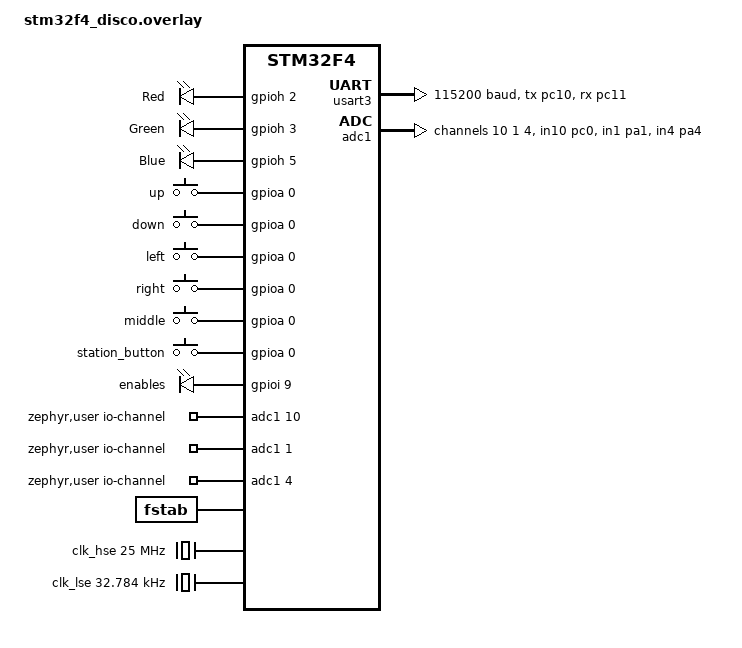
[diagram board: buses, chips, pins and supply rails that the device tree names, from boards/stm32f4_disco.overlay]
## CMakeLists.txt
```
cmake_minimum_required(VERSION 3.10)


##https://stackoverflow.com/questions/39807664/how-to-best-tell-cmake-where-to-find-dll
##https://discourse.cmake.org/t/copying-config-specific-paths-at-build-time/4776

if (CMAKE_CXX_COMPILER_ID STREQUAL "MSVC")
	set (VCPKG_BASE  "C:/Users/gadely2/vcpkg" )
	set (VCPKG_DIR     "${VCPKG_BASE}/installed/x64-windows/")
	set (CMAKE_TOOLCHAIN_FILE "${VCPKG_BASE}/scripts/buildsystems/vcpkg.cmake"   )
	set (VCPKG_TARGET_TRIPLET  "x64-windows"    )
	set (CMAKE_MODULE_PATH "${VCPKG_DIR}/include")
	#set (Qt5_DIR ${VCPKG_DIR}/share/cmake/Qt5)
	include_directories (
		#C:/Users/gadely2/vcpkg/installed/x64-windows/include/Qt5/QtWidgets
		#C:/Users/gadely2/vcpkg/installed/x64-windows/include/Qt5/QtCore
		#C:/Users/gadely2/vcpkg/installed/x64-windows/include/Qt5/QtGui
		#C:/Users/gadely2/vcpkg/installed/x64-windows/include/Qt5/
		#C:/Users/gadely2/vcpkg/installed/x64-windows/include/
		#C:/Users/gadely2/vcpkg/installed/x64-windows/include/readline
		${VCPKG_DIR}/include/Qt5/
		${VCPKG_DIR}/include/Qt5/QtWidgets
		${VCPKG_DIR}/include/Qt5/QtCore
		${VCPKG_DIR}/include/Qt5/QtGui
		#${VCPKG_DIR}/include/readline

	)

endif()



set (USE_GUI_CONSOLE OFF)
set(CMAKE_CXX_COMPILER_WORKS 1)
set(CMAKE_C_COMPILER_WORKS 1)

set (CMAKE_VERBOSE_MAKEFILE OFF)

project(lvgl)


set(CMAKE_C_STANDARD 11)
set(CMAKE_CXX_STANDARD 20)




#set( CMAKE_MESSAGE_LOG_LEVEL "DEBUG" )

set (PROJ_TOP ${CMAKE_SOURCE_DIR})

include (${CMAKE_SOURCE_DIR}/cmake/functions.cmake)
set(PRE_CONFIGURE_FILE "${CMAKE_SOURCE_DIR}/cmake/git.h.in")
set(POST_CONFIGURE_FILE "${CMAKE_BINARY_DIR}/git.h")
include (${CMAKE_SOURCE_DIR}/cmake/git_watcher.cmake)
set (CMAKE_CXX_STANDARD 17)


#https://stackoverflow.com/questions/10046114/in-cmake-how-can-i-test-if-the-compiler-is-clang
if (CMAKE_CXX_COMPILER_ID STREQUAL "GNU")
	add_definitions(-DSLEEP=sleep)
	set (CMAKE_C_FLAGS  " -g -O0 ${CMAKE_C_FLAGS_DEBUG_INIT}  ${CMAKE_C_FLAGS_DEBUG}    " )
	set (CMAKE_CXX_FLAGS_DEBUG "-O0 -g -std=c++17 -fpermissive")

	set (LUAC_PATH 	
		${CMAKE_BINARY_DIR}/common/luaEffects/luac/luac
	)


elseif (CMAKE_CXX_COMPILER_ID STREQUAL "MSVC")
	add_definitions(-DSLEEP=Sleep) 
	add_definitions("-D_CRT_SECURE_NO_WARNINGS -DWIN32")
	set(CMAKE_CXX_FLAGS  "${CMAKE_CXX_FLAGS} /W4")  
	set(CMAKE_CXX_FLAGS_DEBUG_INIT " /Zi ")
	set (CMAKE_CXX_FLAGS  " ${CMAKE_CXX_FLAGS_DEBUG_INIT}  ${CMAKE_CXX_FLAGS_DEBUG}  /MDd" )

	set(CMAKE_C_FLAGS_DEBUG_INIT "  /Zi")
	set (CMAKE_C_FLAGS  " ${CMAKE_C_FLAGS_DEBUG_INIT}  ${CMAKE_C_FLAGS_DEBUG}   /MDd " )

	link_directories(
		${VCPKG_DIR}/debug/lib/
	)
	include_directories(
		${VCPKG_DIR}/include
	)
	add_definitions (
		-DNO_SYSLOG
	)

	set (LUAC_PATH 	
		${CMAKE_BINARY_DIR}/common/luaEffects/luac/Debug/luac.exe
	)

endif()



if (CMAKE_CXX_COMPILER_ID STREQUAL "GNU" )
	set (TARGET "LINUX_PC")	
	set (Python3_EXECUTABLE python)	
	set (msvc_readline "-D LUA_USE_READLINE")	
elseif (CMAKE_CXX_COMPILER_ID STREQUAL "MSVC")
	set (UART_FILE uart_win.cpp)
	set (TARGET "WINDOWS")	
	set (Python3_EXECUTABLE "python.exe")
	set (msvc_readline "-D LUA_USE_READLINE")	
	set (Python3_EXECUTABLE "C:\\Program Files (x86)\\Microsoft Visual Studio\\Shared\\Python39_64\\python.exe")
endif()

set (ZEPHYR FALSE)

add_subdirectory(common)
add_subdirectory(game-pc)

set_property(DIRECTORY common PROPERTY VCPKG_DIR ${VCPKG_DIR})
set_property(DIRECTORY game-pc PROPERTY VCPKG_DIR ${VCPKG_DIR})
```

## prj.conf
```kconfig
# nothing here
CONFIG_SHELL=y
CONFIG_ADC=y

#CONFIG_SHELL_GETOPT=y
#CONFIG_GPIO_EMUL=y
#CONFIG_UART_NATIVE_POSIX=y
#CONFIG_EXTERNAL_LIBC=y
#CONFIG_MINIMAL_LIBC=y

CONFIG_DEBUG_THREAD_INFO=y
CONFIG_NO_OPTIMIZATIONS=y

CONFIG_POSIX_API=y
CONFIG_POSIX_CLOCK=y
CONFIG_NEWLIB_LIBC=y
CONFIG_FILE_SYSTEM=y
CONFIG_MAIN_STACK_SIZE=16384
CONFIG_SHELL_STACK_SIZE=16384

CONFIG_TEST_RANDOM_GENERATOR=y
CONFIG_NEWLIB_LIBC=y
#CONFIG_DEBUG_OPTIMIZATIONS=y
#CONFIG_SHELL_START_OBSCURED=y


CONFIG_LOG=y
CONFIG_EXTRA_EXCEPTION_INFO=y
CONFIG_SIMPLIFIED_EXCEPTION_CODES=y


CONFIG_BOOT_BANNER=n


CONFIG_FLASH=y
CONFIG_FLASH_MAP=y
CONFIG_FLASH_PAGE_LAYOUT=y


CONFIG_FILE_SYSTEM=y
CONFIG_FILE_SYSTEM_SHELL=y

CONFIG_FILE_SYSTEM_LITTLEFS=y

CONFIG_HEAP_MEM_POOL_SIZE=16384 

CONFIG_UART_INTERRUPT_DRIVEN=y


CONFIG_LIB_CPLUSPLUS=y
CONFIG_CPLUSPLUS=y
```

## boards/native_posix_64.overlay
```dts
/ {
	
zephyr,user {
		/* adjust channel number according to pinmux in board.dts */
		io-channels = <&adc0 10>, <&adc0 1>, <&adc0 4>;
	};


	
	gpio1: gpio@800 {
		status = "okay";
		compatible = "zephyr,gpio-emul";
		reg = <0x900 0x50>;
		rising-edge;
		falling-edge;
		high-level;
		low-level;
		gpio-controller;
		#gpio-cells = <2>;
	};

	#include <zephyr/dt-bindings/gpio/gpio.h>
	leds {
		compatible = "gpio-leds";
		station_led_r: red {
			gpios = <&gpio0 13 GPIO_ACTIVE_HIGH>;
			label = "Red";
		};
		station_led_g: green {
			gpios = <&gpio0 14 GPIO_ACTIVE_HIGH>;
			label = "Green";
		};
		station_led_b: blue {
			gpios = <&gpio0 14 GPIO_ACTIVE_HIGH>;
			label = "Blue";
		};
	};	
	gpio_keys {
		compatible = "gpio-keys";
		user_button_up: up {
			label = "up";
			gpios = <&gpio0 0 GPIO_ACTIVE_HIGH>;
		};
		user_button_down: down {
			label = "down";
			gpios = <&gpio0 0 GPIO_ACTIVE_HIGH>;
		};
		user_button_left: left {
			label = "left";
			gpios = <&gpio0 0 GPIO_ACTIVE_HIGH>;
		};
		user_button_right: right {
			label = "right";
			gpios = <&gpio0 0 GPIO_ACTIVE_HIGH>;
		};
		user_button_middle: middle {
			label = "middle";
			gpios = <&gpio0 0 GPIO_ACTIVE_HIGH>;
		};

		station_button: stb {
			label = "station_button";
			gpios = <&gpio0 0 GPIO_ACTIVE_HIGH>;
		};
	
	};

	enable_nodes {
             compatible = "gpio-leds";
          	enables: en {
                     gpios = <&gpio1 0 (GPIO_PULL_UP | GPIO_ACTIVE_LOW)>,
		    	 <&gpio1 1 (GPIO_PULL_UP | GPIO_ACTIVE_LOW)>  ;
              };
     	};



};


	
&adc0 {
	status = "okay";
	#address-cells = <1>;
	#size-cells = <0>;


	channel@10 {
		reg = <10>;
		zephyr,gain = "ADC_GAIN_1";
		zephyr,reference = "ADC_REF_INTERNAL";
		zephyr,acquisition-time = <ADC_ACQ_TIME_DEFAULT>;
		zephyr,resolution = <12>;
	};

	channel@1 {
		reg = <1>;
		zephyr,gain = "ADC_GAIN_1";
		zephyr,reference = "ADC_REF_INTERNAL";
		zephyr,acquisition-time = <ADC_ACQ_TIME_DEFAULT>;
		zephyr,resolution = <12>;
	};

	channel@4 {
		reg = <4>;
		zephyr,gain = "ADC_GAIN_1";
		zephyr,reference = "ADC_REF_INTERNAL";
		zephyr,acquisition-time = <ADC_ACQ_TIME_DEFAULT>;
		zephyr,resolution = <12>;
	};
};




	
```

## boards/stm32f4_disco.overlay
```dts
/ {
	
	chosen {
		zephyr,console = &usart3;
		zephyr,shell-uart = &usart3;
	};

	leds {
		compatible = "gpio-leds";
		station_led_r: red {
			gpios = <&gpioh 2 (GPIO_PULL_UP | GPIO_ACTIVE_HIGH)>;
			label = "Red";
		};
		station_led_g: green {
			gpios = <&gpioh 3 (GPIO_PULL_UP | GPIO_ACTIVE_HIGH)>;
			label = "Green";
		};
		station_led_b: blue {
			gpios = <&gpioh 5 (GPIO_PULL_UP | GPIO_ACTIVE_HIGH)>;
			label = "Blue";
		};
	};	
	gpio_keys {
		compatible = "gpio-keys";
		user_button_up: up {
			label = "up";
			gpios = <&gpioa 0 GPIO_ACTIVE_HIGH>;
		};
		user_button_down: down {
			label = "down";
			gpios = <&gpioa 0 GPIO_ACTIVE_HIGH>;
		};
		user_button_left: left {
			label = "left";
			gpios = <&gpioa 0 GPIO_ACTIVE_HIGH>;
		};
		user_button_right: right {
			label = "right";
			gpios = <&gpioa 0 GPIO_ACTIVE_HIGH>;
		};
		user_button_middle: middle {
			label = "middle";
			gpios = <&gpioa 0 GPIO_ACTIVE_HIGH>;
		};

		station_button: stb {
			label = "station_button";
			gpios = <&gpioa 0 GPIO_ACTIVE_HIGH>;
		};
	
	};

	enable_nodes {
             compatible = "gpio-leds";
          	enables: en {
                     gpios = <&gpioi 9 (GPIO_PULL_UP | GPIO_ACTIVE_HIGH)>,
		    	 <&gpioi 11 (GPIO_PULL_UP | GPIO_ACTIVE_HIGH)> ,
		    	 <&gpiof 1 (GPIO_PULL_UP | GPIO_ACTIVE_HIGH)> ,
		    	 <&gpiof 3 (GPIO_PULL_UP | GPIO_ACTIVE_HIGH)> ,
		    	 <&gpiof 4 (GPIO_PULL_UP | GPIO_ACTIVE_HIGH)> ,
		    	 <&gpiof 6 (GPIO_PULL_UP | GPIO_ACTIVE_HIGH)> ,
		    	 <&gpiof 8 (GPIO_PULL_UP | GPIO_ACTIVE_HIGH)> ,
		    	 <&gpioc 2 (GPIO_PULL_UP | GPIO_ACTIVE_HIGH)> ;




              };
     	};

	zephyr,user {
		/* adjust channel number according to pinmux in board.dts */
		io-channels = <&adc1 10>, <&adc1 1>, <&adc1 4>;
	};



			

	fstab {
           compatible = "zephyr,fstab";
           lfs1: lfs1 {
            compatible = "zephyr,fstab,littlefs";
            mount-point = "/lfs";
            partition = <&storage_partition>;
            automount;
            read-size = <1>;
            prog-size = <16>;
            cache-size = <256>;
            lookahead-size = <32>;
            block-cycles = <512>;
            /*no-format;*/
        };
     };
     


	flash_controller2: flash-controller@2 {
			compatible = "zephyr,sim-flash";
			reg = <0x00000000 DT_SIZE_K(32)>;

			#address-cells = <1>;
			#size-cells = <1>;
			erase-value = <0xff>;

			flash_sim0: flash_sim@0 {
				status = "okay";
				compatible = "soc-nv-flash";
				erase-block-size = <64>;
				write-block-size = <1>;
				reg = <0x00000000 DT_SIZE_K(8)>;

				partitions {
					compatible = "fixed-partitions";
					#address-cells = <1>;
					#size-cells = <1>;

					storage_partition: partition@0 {
						label = "lfs";
						reg = <0x00000000 DT_SIZE_K(8)>;
					};
				};
			};
		};
};

&flash0 {
		partitions {
			compatible = "fixed-partitions";
			#address-cells = <1>;
			#size-cells = <1>;
			storage_partition1: partition@c0000 {
                        	 label = "data";
				 reg = <0x80000 DT_SIZE_K(512)>;
                	};
		};
	};

	
&clk_hse {
	status = "okay";
	clock-frequency = <25000000>;
};

&clk_lse {
	status = "okay";
	clock-frequency = <32784>;
};


&clk_hsi {
	status = "okay";
	clock-frequency = <16000000>;
};

&pll {
	div-m = <25>;
	mul-n = <336>;
	div-p = <2>;
	div-q = <7>;
	clocks = <&clk_hse>;
	status = "okay";
};





&rcc {
	clocks = <&pll>;
	clock-frequency = <DT_FREQ_M(168)>;
 	ahb-prescaler = <1>;
	apb1-prescaler = <4>;
	apb2-prescaler = <2>;
	
};


&usart3 {
	pinctrl-0 = <&usart3_tx_pc10 &usart3_rx_pc11>;
	pinctrl-names = "default";
	current-speed = <115200>;
	status = "okay";
};

&adc1 {
	status = "okay";
	#address-cells = <1>;
	#size-cells = <0>;
	pinctrl-0 = <&adc1_in10_pc0>, <&adc1_in1_pa1>,  <&adc1_in4_pa4>;
	pinctrl-names = "default";


	channel@10 {
		reg = <10>;
		zephyr,gain = "ADC_GAIN_1";
		zephyr,reference = "ADC_REF_INTERNAL";
		zephyr,acquisition-time = <ADC_ACQ_TIME_DEFAULT>;
		zephyr,resolution = <12>;
	};

	channel@1 {
		reg = <1>;
		zephyr,gain = "ADC_GAIN_1";
		zephyr,reference = "ADC_REF_INTERNAL";
		zephyr,acquisition-time = <ADC_ACQ_TIME_DEFAULT>;
		zephyr,resolution = <12>;
	};

	channel@4 {
		reg = <4>;
		zephyr,gain = "ADC_GAIN_1";
		zephyr,reference = "ADC_REF_INTERNAL";
		zephyr,acquisition-time = <ADC_ACQ_TIME_DEFAULT>;
		zephyr,resolution = <12>;
	};
};
```

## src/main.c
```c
/*
 * Copyright (c) 2012-2014 Wind River Systems, Inc.
 *
 * SPDX-License-Identifier: Apache-2.0
 */


#include <zephyr/kernel.h>
#include <zephyr/kernel.h>
#include <zephyr/device.h>
#include <zephyr/devicetree.h>
#include <zephyr/drivers/uart.h>
#include <zephyr/drivers/gpio.h>

#include <zephyr/kernel.h>
#include <zephyr/device.h>
#include <zephyr/drivers/gpio.h>
#include <zephyr/sys/printk.h>

#include <zephyr/kernel.h>
#include <zephyr/device.h>
#include <zephyr/drivers/gpio.h>
#include <zephyr/sys/util.h>
#include <zephyr/sys/printk.h>
#include <inttypes.h>

#include "shell.h"


#include <zephyr/fs/fs.h>
#include <zephyr/drivers/gpio/gpio_emul.h>

#include <stdlib.h>

#include "lauxlib.h"
#include "lualib.h"
#include "hwctl.h"
#include "system_model.h"
#include "game.h"

int _open() {
	return 0;
}


#include <zephyr/kernel.h>
#include <zephyr/device.h>
#include <zephyr/fs/fs.h>
#include <zephyr/fs/littlefs.h>
#include <zephyr/logging/log.h>
#include <zephyr/storage/flash_map.h>

LOG_MODULE_REGISTER(main);

/* Matches LFS_NAME_MAX */
#define MAX_PATH_LEN 255
#define TEST_FILE_SIZE 547

static uint8_t file_test_pattern[TEST_FILE_SIZE];
static int lsdir(const char *path)
{
	int res;
	struct fs_dir_t dirp;
	static struct fs_dirent entry;

	fs_dir_t_init(&dirp);

	/* Verify fs_opendir() */
	res = fs_opendir(&dirp, path);
	if (res) {
		LOG_ERR("Error opening dir %s [%d]\n", path, res);
		return res;
	}

	LOG_PRINTK("\nListing dir %s ...\n", path);
	for (;;) {
		/* Verify fs_readdir() */
		res = fs_readdir(&dirp, &entry);

		/* entry.name[0] == 0 means end-of-dir */
		if (res || entry.name[0] == 0) {
			if (res < 0) {
				LOG_ERR("Error reading dir [%d]\n", res);
			}
			break;
		}

		if (entry.type == FS_DIR_ENTRY_DIR) {
			LOG_PRINTK("[DIR ] %s\n", entry.name);
		} else {
			LOG_PRINTK("[FILE] %s (size = %zu)\n",
				   entry.name, entry.size);
		}
	}

	/* Verify fs_closedir() */
	fs_closedir(&dirp);

	return res;
}

static int littlefs_increase_infile_value(char *fname)
{
	uint8_t boot_count = 0;
	struct fs_file_t file;
	int rc, ret;

	fs_file_t_init(&file);
	rc = fs_open(&file, fname, FS_O_CREATE | FS_O_RDWR);
	if (rc < 0) {
		LOG_ERR("FAIL: open %s: %d", fname, rc);
		return rc;
	}

	rc = fs_read(&file, &boot_count, sizeof(boot_count));
	if (rc < 0) {
		LOG_ERR("FAIL: read %s: [rd:%d]", fname, rc);
		goto out;
	}
	LOG_PRINTK("%s read count:%u (bytes: %d)\n", fname, boot_count, rc);

#if 0
	rc = fs_seek(&file, 0, FS_SEEK_SET);
	if (rc < 0) {
		LOG_ERR("FAIL: seek %s: %d", fname, rc);
		goto out;
	}
#endif
	boot_count += 1;
	for (int i = 0;i<200;i++) { 
		rc = fs_write(&file, &boot_count, sizeof(boot_count));
	if (rc < 0) {
		LOG_ERR("FAIL: write %s: %d", fname, rc);
		goto out;
	}
	}
	LOG_PRINTK("%s write new boot count %u: [wr:%d]\n", fname,
		   boot_count, rc);

 out:
	ret = fs_close(&file);
	if (ret < 0) {
		LOG_ERR("FAIL: close %s: %d", fname, ret);
		return ret;
	}

	return (rc < 0 ? rc : 0);
}

static void incr_pattern(uint8_t *p, uint16_t size, uint8_t inc)
{
	uint8_t fill = 0x55;

	if (p[0] % 2 == 0) {
		fill = 0xAA;
	}

	for (int i = 0; i < (size - 1); i++) {
		if (i % 8 == 0) {
			p[i] += inc;
		} else {
			p[i] = fill;
		}
	}

	p[size - 1] += inc;
}

static void init_pattern(uint8_t *p, uint16_t size)
{
	uint8_t v = 0x1;

	memset(p, 0x55, size);

	for (int i = 0; i < size; i += 8) {
		p[i] = v++;
	}

	p[size - 1] = 0xAA;
}

static void print_pattern(uint8_t *p, uint16_t size)
{
	int i, j = size / 16, k;

	for (k = 0, i = 0; k < j; i += 16, k++) {
		LOG_PRINTK("%02x %02x %02x %02x %02x %02x %02x %02x ",
			   p[i], p[i+1], p[i+2], p[i+3],
			   p[i+4], p[i+5], p[i+6], p[i+7]);
		LOG_PRINTK("%02x %02x %02x %02x %02x %02x %02x %02x\n",
			   p[i+8], p[i+9], p[i+10], p[i+11],
			   p[i+12], p[i+13], p[i+14], p[i+15]);

		/* Mark 512B (sector) chunks of the test file */
		if ((k + 1) % 32 == 0) {
			LOG_PRINTK("\n");
		}
	}

	for (; i < size; i++) {
		LOG_PRINTK("%02x ", p[i]);
	}

	LOG_PRINTK("\n");
}

static int littlefs_binary_file_adj(char *fname)
{
	struct fs_dirent dirent;
	struct fs_file_t file;
	int rc, ret;

	/*
	 * Uncomment below line to force re-creation of the test pattern
	 * file on the littlefs FS.
	 */
	/* fs_unlink(fname); */
	fs_file_t_init(&file);

	rc = fs_open(&file, fname, FS_O_CREATE | FS_O_APPEND);
	if (rc < 0) {
		LOG_ERR("FAIL: open %s: %d", fname, rc);
		return rc;
	}

	rc = fs_stat(fname, &dirent);
	if (rc < 0) {
		LOG_ERR("FAIL: stat %s: %d", fname, rc);
		goto out;
	}

	/* Check if the file exists - if not just write the pattern */
	if (rc == 0 && dirent.type == FS_DIR_ENTRY_FILE && dirent.size == 0) {
		LOG_INF("Test file: %s not found, create one!",
			fname);
		init_pattern(file_test_pattern, sizeof(file_test_pattern));
	} else {
		rc = fs_read(&file, file_test_pattern,
			     sizeof(file_test_pattern));
		if (rc < 0) {
			LOG_ERR("FAIL: read %s: [rd:%d]",
				fname, rc);
			goto out;
		}
		incr_pattern(file_test_pattern, sizeof(file_test_pattern), 0x1);
	}

	LOG_PRINTK("------ FILE: %s ------\n", fname);
	print_pattern(file_test_pattern, sizeof(file_test_pattern));

	rc = fs_seek(&file, 0, FS_SEEK_SET);
	if (rc < 0) {
		LOG_ERR("FAIL: seek %s: %d", fname, rc);
		goto out;
	}

	rc = fs_write(&file, file_test_pattern, sizeof(file_test_pattern));
	if (rc < 0) {
		LOG_ERR("FAIL: write %s: %d", fname, rc);
	}

 out:
	ret = fs_close(&file);
	if (ret < 0) {
		LOG_ERR("FAIL: close %s: %d", fname, ret);
		return ret;
	}

	return (rc < 0 ? rc : 0);
}


#define CONFIG_APP_LITTLEFS_STORAGE_FLASH
#ifdef CONFIG_APP_LITTLEFS_STORAGE_FLASH
static int littlefs_flash_erase(unsigned int id)
{
	const struct flash_area *pfa;
	int rc;

	rc = flash_area_open(id, &pfa);
	if (rc < 0) {
		LOG_ERR("FAIL: unable to find flash area %u: %d\n",
			id, rc);
		return rc;
	}

	LOG_PRINTK("Area %u at 0x%x on %s for %u bytes\n",
		   id, (unsigned int)pfa->fa_off, pfa->fa_dev->name,
		   (unsigned int)pfa->fa_size);

	/* Optional wipe flash contents */
	if (IS_ENABLED(CONFIG_APP_WIPE_STORAGE)) {
		rc = flash_area_erase(pfa, 0, pfa->fa_size);
		LOG_ERR("Erasing flash area ... %d", rc);
	}

	flash_area_close(pfa);
	return rc;
}
#define PARTITION_NODE DT_NODELABEL(lfs1)

#if DT_NODE_EXISTS(PARTITION_NODE)
FS_FSTAB_DECLARE_ENTRY(PARTITION_NODE);
#else /* PARTITION_NODE */
FS_LITTLEFS_DECLARE_DEFAULT_CONFIG(storage);
static struct fs_mount_t lfs_storage_mnt = {
	.type = FS_LITTLEFS,
	.fs_data = &storage,
	.storage_dev = (void *)FIXED_PARTITION_ID(storage_partition),
	.mnt_point = "/lfs",
};
#endif /* PARTITION_NODE */

	struct fs_mount_t *mp =
#if DT_NODE_EXISTS(PARTITION_NODE)
		&FS_FSTAB_ENTRY(PARTITION_NODE)
#else
		&lfs_storage_mnt
#endif
		;

static int littlefs_mount(struct fs_mount_t *mp)
{
	int rc;

	rc = littlefs_flash_erase((uintptr_t)mp->storage_dev);
	if (rc < 0) {
		return rc;
	}

	/* Do not mount if auto-mount has been enabled */
#if !DT_NODE_EXISTS(PARTITION_NODE) ||						\
	!(FSTAB_ENTRY_DT_MOUNT_FLAGS(PARTITION_NODE) & FS_MOUNT_FLAG_AUTOMOUNT)
	rc = fs_mount(mp);
	if (rc < 0) {
		LOG_PRINTK("FAIL: mount id %" PRIuPTR " at %s: %d\n",
		       (uintptr_t)mp->storage_dev, mp->mnt_point, rc);
		return rc;
	}
	LOG_PRINTK("%s mount: %d\n", mp->mnt_point, rc);
#else
	LOG_PRINTK("%s automounted\n", mp->mnt_point);
#endif

	return 0;
}
#endif /* CONFIG_APP_LITTLEFS_STORAGE_FLASH */

#ifdef CONFIG_APP_LITTLEFS_STORAGE_BLK_SDMMC
struct fs_littlefs lfsfs;
static struct fs_mount_t __mp = {
	.type = FS_LITTLEFS,
	.fs_data = &lfsfs,
	.flags = FS_MOUNT_FLAG_USE_DISK_ACCESS,
};
struct fs_mount_t *mp = &__mp;

static int littlefs_mount(struct fs_mount_t *mp)
{
	static const char *disk_mount_pt = "/"CONFIG_SDMMC_VOLUME_NAME":";
	static const char *disk_pdrv = CONFIG_SDMMC_VOLUME_NAME;

	mp->storage_dev = (void *)disk_pdrv;
	mp->mnt_point = disk_mount_pt;

	return fs_mount(mp);
}
#endif /* CONFIG_APP_LITTLEFS_STORAGE_BLK_SDMMC */

int main(void)
{
	char fname1[MAX_PATH_LEN];
	char fname2[MAX_PATH_LEN];
	char fname3[MAX_PATH_LEN];

	struct fs_statvfs sbuf;
	int rc;

	LOG_PRINTK("Sample program to r/w files on littlefs\n");

	rc = littlefs_mount(mp);
	if (rc < 0) {
	//	return 0;
	}

	snprintf(fname1, sizeof(fname1), "%s/boot_count", mp->mnt_point);
	snprintf(fname2, sizeof(fname2), "%s/pattern.bin", mp->mnt_point);
	snprintf(fname3, sizeof(fname2), "%s/pattern11.bin", mp->mnt_point);

	rc = fs_statvfs(mp->mnt_point, &sbuf);
	if (rc < 0) {
		LOG_PRINTK("FAIL: statvfs: %d\n", rc);
		goto out;
	}

	printf("%s: bsize = %lu ; frsize = %lu ;"
		   " blocks = %lu ; bfree = %lu\n",
		   mp->mnt_point,
		   sbuf.f_bsize, sbuf.f_frsize,
		   sbuf.f_blocks, sbuf.f_bfree);

	rc = lsdir(mp->mnt_point);
	if (rc < 0) {
		LOG_PRINTK("FAIL: lsdir %s: %d\n", mp->mnt_point, rc);
		goto out;
	}

	rc = littlefs_increase_infile_value(fname1);
	if (rc) {
		goto out;
	}

	rc = littlefs_binary_file_adj(fname2);
	if (rc) {
		goto out;
	}


	int i=0;

	for (int i=0;i<0;i++) {
	snprintf(fname3, sizeof(fname2), "%s/pattern-%d.bin", mp->mnt_point,i);
	rc = littlefs_binary_file_adj(fname3);
	if (rc) {
		goto out;
	}
	}
out:

printf("%s: bsize = %lu ; frsize = %lu ;"
		   " blocks = %lu ; bfree = %lu\n",
		   mp->mnt_point,
		   sbuf.f_bsize, sbuf.f_frsize,
		   sbuf.f_blocks, sbuf.f_bfree);


	//rc = fs_unmount(mp);
	//LOG_PRINTK("%s unmount: %d\n", mp->mnt_point, rc);
	return 0;
}


//https://blog.devgenius.io/how-to-add-your-c-library-in-lua-46fd246f0fa8
//lua_State *L;
int main1(void)
{

	game_init();
	init_shell();
	while (1) {
		k_sleep(K_MSEC(500));		
	}

	

	return 0;
}
```

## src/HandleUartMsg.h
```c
/*
 * =====================================================================================
 *
 *       Filename:  protocol.h
 *
 *    Description:  
 *
 *        Version:  1.0
 *        Created:  11/11/2022 03:14:53 PM
 *       Revision:  none
 *       Compiler:  gcc
 *
 *        Company:  Israel
 *
 * =====================================================================================
 */

#ifndef PROTOCOL_H
#define PROTOCOL_H 
#include <string>
#include <memory>
#include <vector>

#include <cstring>
#include <type_traits>
#include <utility>

#include "IProtocolParser.h"

#include "protocol-v1/ProtoclDataStructures.h"
#include "protocol-v1/SensorDataParser.h"
#include "protocol-v1/messages.h"
#include "protocol-v1/IHandleUartMsg.h"
#include "common/logger.h"

namespace Simple {

	class HandleUartMsg: public IHandleUartMsg {
		public:
			HandleUartMsg(std::shared_ptr<Hal::IUart> uart) : m_uart(uart) {
			}
			void NewData(const MsgToParse &msg) override {
				switch (msg.cmd) {

					case CmdId::GetDeviceInfo:
						{

							DeviceInfo deviceInfo;
							auto msg = deviceInfo();
							///msg->data.hw_version [0] = 1;
							int n = m_uart->Send(msg->buffer,msg->size()); 
							(void)n;

							break;
						}
					
				}

			};
			void Wrongdata() override {
			};
		private:
			std::shared_ptr<Hal::IUart> m_uart;			


	};





}



#endif
```

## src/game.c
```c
/*
 * =====================================================================================
 *
 *       Filename:  game.c
 *
 *    Description:  
 *
 *        Version:  1.0
 *        Created:  08/24/2023 04:01:33 PM
 *       Revision:  none
 *       Compiler:  gcc
 *
 *         Author:  Yair Gadelov (yg), yair.gadelov@gmail.com
 *        Company:  Israel
 *
 * =====================================================================================
 */

#include "game.h"
#include "lua.h"
#include "lauxlib.h"
#include "lualib.h"
#include <zephyr/kernel.h>
#include "luasrc.h"
#include "system_model.h"

#define MY_STACK_SIZE 16384
#define MY_PRIORITY 5
static sys_dnode_t head;
static lua_State *L = 0;


K_THREAD_STACK_DEFINE(game_thread_area, MY_STACK_SIZE);
struct k_thread game_thread;
k_tid_t game_thread_tid = 0;





static void game_thread_entry(void *g, void *a, void *b) {
	struct game * game = g;
	if (game->func) {
		game->func(game->data);
	}
}




static void game_default_c(void *data) {
	int cnt = 0;
	while (cnt < 10) {
		k_sleep(K_MSEC(1000));		
		printf("run game %d\n",cnt++);
	}
	return;
}



static void game_lua_generic(void *data) {
	struct lua_game_data *game = data;

	printf("start runnunig lua:  %s\n", game->name);
	if (L)
		lua_close(L); 
	L = luaL_newstate();
	luaL_openlibs(L);
#if 0
	if (luaL_dostring(L, lua)) {
		fprintf(stderr, "%s\n", lua_tostring(L,1));
	}
#endif
	int error =
       luaL_loadbuffer( L, game->code, game->size, "main" )
       || lua_pcall( L, 0, 0, 0 );

	if (error) {
		fprintf(stderr, "%s\n", lua_tostring(L,1));

	}
	lua_close(L);   /* Cya, Lua */
	L = 0;
	printf("finish runnunig lua:  %s\n", game->name);

}



static struct game games[] = {
	{.name = "default c game",.func = game_default_c},
	{.name = "default lua game", .func = game_lua_generic, .data = &lua_game1  },
};





void game_init(void) {

	// Initialize the doubly linked list
	sys_dlist_init(&head);

	// Populate the data in games
	for (int i = 0; i < sizeof(games)/sizeof(struct game); ++i) {
		sys_dlist_append(&head, &games[i].node);

	}


}

void game_show_list() {
	sys_dnode_t *cur_node;
	int i = 0;


	printf("\nList of games:\n");
	SYS_DLIST_FOR_EACH_NODE(&head, cur_node) {
		struct game *game = CONTAINER_OF(cur_node, struct game, node);
		printf("%2d -> %s \n", ++i, game->name);
	}
}

struct game * game_get_by_index(int i) {
	int j = 0;
	struct game *game = 0;
	sys_dnode_t *cur_node;

	SYS_DLIST_FOR_EACH_NODE(&head, cur_node) {
		game = CONTAINER_OF(cur_node, struct game, node);
		if (i == j) {
			break;
		}
	}
	return game;
}


void game_start(struct game *g) {

	if (g) {
		game_stop();
		game_thread_tid = k_thread_create(&game_thread, game_thread_area,
				K_THREAD_STACK_SIZEOF(game_thread_area),
				game_thread_entry,
				g, NULL, NULL,
				MY_PRIORITY, 0, K_NO_WAIT);
		k_thread_start(game_thread_tid);

	}
}
void game_stop() {
	if (game_thread_tid) {
		k_thread_abort(game_thread_tid);	
		set_active_game(255);
	}	
}	
```

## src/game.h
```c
/*
 * =====================================================================================
 *
 *       Filename:  game.h
 *
 *    Description:  
 *
 *        Version:  1.0
 *        Created:  08/24/2023 04:01:40 PM
 *       Revision:  none
 *       Compiler:  gcc
 *
 *         Author:  Yair Gadelov (yg), yair.gadelov@gmail.com
 *        Company:  Israel
 *
 * =====================================================================================
 */

#ifndef game_h
#define game_h 
#include <stddef.h>
#include <stdio.h>
#include <zephyr/sys/dlist.h>
#include <zephyr/sys/util.h>
struct game {
	void (*func)(void *data);
	 void *data;
	char name[32];
	sys_dnode_t node; // Doubly linked list node structure
};
void game_show_list();
void game_init(void); 
void game_run(struct game *);
struct game * game_get_by_index(int i);
void game_stop();
void game_start(struct game *g);
#endif
```

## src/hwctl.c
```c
/*
 * =====================================================================================
 *
 *       Filename:  hwctl.c
 *
 *    Description:  
 *
 *        Version:  1.0
 *        Created:  08/14/2023 03:43:23 PM
 *       Revision:  none
 *       Compiler:  gcc
 *
 *         Author:  Yair Gadelov (yg), yair.gadelov@gmail.com
 *        Company:  Israel
 *
 * =====================================================================================
 */

#include "hwctl.h"
#include "system_model.h"



#include <zephyr/kernel.h>
#include <zephyr/device.h>
#include <zephyr/drivers/gpio.h>
#include <zephyr/sys/util.h>
#include <zephyr/sys/printk.h>
#include <inttypes.h>
#include <inttypes.h>
#include <stddef.h>
#include <stdint.h>

#include <zephyr/device.h>
#include <zephyr/devicetree.h>
#include <zephyr/drivers/adc.h>
#include <zephyr/kernel.h>
#include <zephyr/sys/printk.h>
#include <zephyr/sys/util.h>


/* size of stack area used by each thread */
#define STACKSIZE 4096

/* scheduling priority used by each thread */
#define PRIORITY 7


K_SEM_DEFINE(my_signal, 0, 1); // Define and initialize a semaphore


/* the gpios of node enable */
static struct gpio_dt_spec en_station[] = {
        DT_FOREACH_PROP_ELEM_SEP(DT_NODELABEL(enables), gpios,
                                 GPIO_DT_SPEC_GET_BY_IDX, (,))
};


/* the gpios of node enable */
static struct gpio_dt_spec led_red = GPIO_DT_SPEC_GET(DT_NODELABEL(station_led_r), gpios);
static struct gpio_dt_spec led_green = GPIO_DT_SPEC_GET(DT_NODELABEL(station_led_g), gpios);
static struct gpio_dt_spec led_blue = GPIO_DT_SPEC_GET(DT_NODELABEL(station_led_b), gpios);


void hwctl_enable_node(int id) {
#if 1	
	// disable previous node
	gpio_pin_set_dt (&en_station[get_active_node()], 0);

	// enable the new node
	if (! is_blink(id)) {	
		// not blonking , just output the led value
		gpio_pin_set_dt (&en_station[id], 1);
		gpio_pin_set_dt (&led_red, get_r(id) ? 1 : 0);
		gpio_pin_set_dt (&led_green, get_g(id) ? 1 : 0);
		gpio_pin_set_dt (&led_blue, get_b(id) ? 1 : 0);
	} else {
		// station led in blink state, manage it
		if (time_elapse_since_last_toggle(id)) {
			// time to toggle led
			toggle_led(id);

			gpio_pin_set_dt (&en_station[id], 1);
			gpio_pin_set_dt (&led_red, get_r(id) & is_blink_on(id) ? 1 : 0);
			gpio_pin_set_dt (&led_green, get_g(id) & is_blink_on(id) ? 1 : 0);
			gpio_pin_set_dt (&led_blue, get_b(id) & is_blink_on(id)? 1 : 0);
			
		}
	}
#endif
	// save rhe new node
	set_active_node(id);
	
}


void hwctl_disable_all_nodes() {

	for (int i =0;i < 8; i++) {
		set_active_node(i);	
		gpio_pin_set_dt (&en_station[i], 0);		
	}
	gpio_pin_set_dt (&led_red, 0);
	gpio_pin_set_dt (&led_green, 0);
	gpio_pin_set_dt (&led_blue, 0);

}




#if !DT_NODE_EXISTS(DT_PATH(zephyr_user)) || \
	!DT_NODE_HAS_PROP(DT_PATH(zephyr_user), io_channels)
#error "No suitable devicetree overlay specified"
#endif

#define DT_SPEC_AND_COMMA(node_id, prop, idx) \
	ADC_DT_SPEC_GET_BY_IDX(node_id, idx),

/* Data of ADC io-channels specified in devicetree. */
static const struct adc_dt_spec adc_channels[] = {
	DT_FOREACH_PROP_ELEM(DT_PATH(zephyr_user), io_channels,
			     DT_SPEC_AND_COMMA)
};

int hwctl_adc(void)
{
	int err;
	uint32_t count = 0;
	uint16_t buf;
	struct adc_sequence sequence = {
		.buffer = &buf,
		/* buffer size in bytes, not number of samples */
		.buffer_size = sizeof(buf),
	};

	/* Configure channels individually prior to sampling. */
	for (size_t i = 0U; i < ARRAY_SIZE(adc_channels); i++) {
		if (!device_is_ready(adc_channels[i].dev)) {
			printk("ADC controller device %s not ready\n", adc_channels[i].dev->name);
			return 0;
		}

		err = adc_channel_setup_dt(&adc_channels[i]);
		if (err < 0) {
			printk("Could not setup channel #%d (%d)\n", i, err);
			return 0;
		}
	}

	while (1) {
		printk("ADC reading[%u]:\n", count++);
		for (size_t i = 0U; i < ARRAY_SIZE(adc_channels); i++) {
			int32_t val_mv;

			printk("- %s, channel %d: ",
			       adc_channels[i].dev->name,
			       adc_channels[i].channel_id);

			(void)adc_sequence_init_dt(&adc_channels[i], &sequence);

			err = adc_read(adc_channels[i].dev, &sequence);
			if (err < 0) {
				printk("Could not read (%d)\n", err);
				continue;
			}

			/*
			 * If using differential mode, the 16 bit value
			 * in the ADC sample buffer should be a signed 2's
			 * complement value.
			 */
			if (adc_channels[i].channel_cfg.differential) {
				val_mv = (int32_t)((int16_t)buf);
			} else {
				val_mv = (int32_t)buf;
			}
			printk("%"PRId32, val_mv);
			err = adc_raw_to_millivolts_dt(&adc_channels[i],
						       &val_mv);
			/* conversion to mV may not be supported, skip if not */
			if (err < 0) {
				printk(" (value in mV not available)\n");
			} else {
				printk(" = %"PRId32" mV\n", val_mv);
			}
		}

		k_sleep(K_MSEC(1000));
	}
	return 0;
}


void hwctl_start_free_run() {
	if (get_free_run() == 0) {
		set_free_run_delay(get_free_run_delay());
		set_free_run(1);		
		k_sem_give(&my_signal); 
	}
}

void hwctl_stop_free_run() {
	set_free_run(0);	
}


void hwctl_thread (void *p1,void *p2, void *p3)
{
	//Motor * motor = *( (Motor **) p1); 
	printk("message_in_listenr\n");
#if 1
	for (int i =0;i<8;i++)
		gpio_pin_configure_dt(&en_station[i], GPIO_OUTPUT);
	gpio_pin_configure_dt(&led_red, GPIO_OUTPUT);
	gpio_pin_configure_dt(&led_green, GPIO_OUTPUT);
	gpio_pin_configure_dt(&led_blue, GPIO_OUTPUT);
#endif
	set_rgb(0,127,127,127);
//	set_rgb(1,0,127,0);
//	set_rgb(2,0,0,127);
//	set_rgb(3,127,0,127);
//	set_rgb(4,0,127,127);
//	set_rgb(5,127,0,127);
//	set_rgb(6,127,127,127);
//	set_rgb(7,0,0,127);
	
	int n = 0;
	while (1) {
		k_sem_take(&my_signal, K_FOREVER);
		while (get_free_run()) {
			k_sleep(K_USEC(get_free_run_delay()));		
			hwctl_enable_node(n++);
			n %= 8;
		}
	}

}

K_THREAD_DEFINE(message_in_listenr_id, STACKSIZE, hwctl_thread, NULL /*&g_motor*/, NULL, NULL, PRIORITY, 0, 0);
```

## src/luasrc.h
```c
/*
 * =====================================================================================
 *
 *       Filename:  luasrc.h
 *
 *    Description:  
 *
 *        Version:  1.0
 *        Created:  09/04/2023 07:47:09 PM
 *       Revision:  none
 *       Compiler:  gcc
 *
 *         Author:  Yair Gadelov (yg), yair.gadelov@gmail.com
 *        Company:  Israel
 *
 * =====================================================================================
 */

#ifndef LUA_SOURCE_H
#define LUA_SOURCE_H
struct lua_game_data {
	int size;
	const unsigned char * code;
	char name[32];
};


struct lua_game_data  lua_game1 = {
	.name = "first game",	
	.code = ( const unsigned char []) {
#include "game1.lua.h"
	},
	.size = sizeof(( const unsigned char []) {
#include "game1.lua.h"
	})	
};




#endif
```

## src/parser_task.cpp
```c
/*
 * =====================================================================================
 *
 *       Filename:  parser_task.cpp
 *
 *    Description:  
 *
 *        Version:  1.0
 *        Created:  09/11/2023 07:54:54 PM
 *       Revision:  none
 *       Compiler:  gcc
 *
 *         Author:  Yair Gadelov (yg), yair.gadelov@gmail.com
 *        Company:  Israel
 *
 * =====================================================================================
 */

#include <string.h>
#include <memory>

#include <zephyr/devicetree.h>
#include <zephyr/kernel.h>
#include <zephyr/device.h>
#include <zephyr/drivers/gpio.h>
#include <zephyr/sys/printk.h>
#include <zephyr/sys/__assert.h>
#include <zephyr/drivers/uart.h>
#include <zephyr/drivers/i2c.h>
#include "zephyr/uart_zephyr.h"


#include "protocol-v1/ProtocolStateMachine.h"
#include "protocol-v1/ProtoclDataStructures.h"
#include "HandleUartMsg.h"

//const struct device *const sl_uart1 ;//= DEVICE_DT_GET(UART_NODE2);
#define UART_NODE2 DT_CHOSEN(zephyr_console)
const struct device *const sl_uart2 = DEVICE_DT_GET(UART_NODE2);

/* size of stack area used by each thread */
#define STACKSIZE 8096

/* scheduling priority used by each thread */
#define PRIORITY 7



void parser_message_listenr(void *p1,void *p2, void *p3)
{
	printk("message_in_listenr\n");

	auto uart = Hal::GetUartZephyr(sl_uart2);
	uart->Open();
	auto p  =  std::shared_ptr<Simple::HandleUartMsg>(new Simple::HandleUartMsg(uart) );
	std::shared_ptr<IProtocolParser> parser = std::shared_ptr<Simple::ProtocolStateMachine> ( new Simple::ProtocolStateMachine  (uart, p));


#if 0
	auto login =  [] () ->void{

	};	
	login();
#endif

	while (1) {
		parser->Parse();
	}
}

K_THREAD_DEFINE(parser_message_listenr_id, STACKSIZE, parser_message_listenr, 0, NULL, NULL, PRIORITY, 0, 0);
```

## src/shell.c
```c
/*
 * =====================================================================================
 *
 *       Filename:  shell.c
 *
 *    Description:  
 *
 *        Version:  1.0
 *        Created:  08/05/2023 06:25:45 PM
 *       Revision:  none
 *       Compiler:  gcc
 *
 *         Author:  Yair Gadelov (yg), yair.gadelov@gmail.com
 *        Company:  Israel
 *
 * =====================================================================================
 */

#include <zephyr/kernel.h>
#include <zephyr/shell/shell.h>
#include <version.h>
#include <zephyr/logging/log.h>
#include <stdlib.h>
#include <zephyr/drivers/uart.h>
#include <zephyr/usb/usb_device.h>
#include <ctype.h>

#ifdef CONFIG_ARCH_POSIX
#include <unistd.h>
#else
#include <zephyr/posix/unistd.h>
#endif

#include "system_model.h"
#include "hwctl.h"
#include "game.h"


LOG_MODULE_REGISTER(app);


void timer_expired_handler(struct k_timer *timer)
{
	LOG_INF("Timer expired.");

	/* Call another module to present logging from multiple sources. */
	//foo();
}

K_TIMER_DEFINE(log_timer, timer_expired_handler, NULL);






static int cmd_version(const struct shell *sh, size_t argc, char **argv)
{
	ARG_UNUSED(argc);
	ARG_UNUSED(argv);

	shell_print(sh, "Zephyr version %s", KERNEL_VERSION_STRING);

	return 0;
}

//#include "getopt.h"
int cmd_led_en(const struct shell *sh, size_t argc,
		char **argv)
{

	int id = argv[1] ? atoi(argv[1]) : 0 ;

	hwctl_stop_free_run();	
	if (0 < id && id <= 8)
		hwctl_enable_node(id - 1) ;
	else {
		hwctl_disable_all_nodes();
	}
	return 0;
}

int cmd_led_blink(const struct shell *sh, size_t argc,
		char **argv)
{
	int id = argv[1] ? 1 <= atoi(argv[1]) : 0 ;
	int freq = argv[2] ? atoi(argv[2]) : 5 ;
	int timeout = argv[3] ? atoi(argv[3]) : 10 ;

	if (0 < id && id <= 8) {	
		set_free_run_delay(66);
		start_blink(id - 1,freq,timeout);
		hwctl_start_free_run();
	} else {
		hwctl_disable_all_nodes();		
	}

	return 0;
}

int cmd_led_run(const struct shell *sh, size_t argc,
		char **argv)
{
	int delay = argv[1] ? atoi(argv[1]) : 1000 ;

	set_free_run_delay(delay);
	hwctl_start_free_run();

	return 0;
}


int cmd_led_stop(const struct shell *sh, size_t argc,
		char **argv)
{
	hwctl_stop_free_run();	
	return 0;
}

int cmd_led_rgb(const struct shell *sh, size_t argc,
		char **argv)
{
	int id = argv[1] ? atoi(argv[1]) : 0 ;
	if (0 < id && id <= 8) {
		int r = argv[2] ? atoi(argv[2]) : 0 ;
		int g = argv[3] ? atoi(argv[3]) : 0 ;
		int b = argv[4] ? atoi(argv[4]) : 0 ;
		set_rgb( id - 1,  r,  g,  b);	
		hwctl_enable_node(id - 1) ;		

	}
	return 0;
}



#ifdef CONFIG_SHELL_GETOPT
static int cmd_game_start_ts(const struct shell *sh, size_t argc,
		char **argv)
{
	struct getopt_state *state;
	//char *cvalue = NULL;
	int level = 0;
	int time = 0;
	int game_id=0;
	int c;

	while ((c = getopt(argc, argv, "l:t:n:")) != -1) {
		state = getopt_state_get();
		switch (c) {
			case 'l':
				level = atoi(state->optarg);;
				break;
			case 't':
				time = atoi(state->optarg);;
				break;
			case 'n':
				game_id = atoi(state->optarg);
				break;
			case 'h':
				/* When getopt is active shell is not parsing
				 * command handler to print help message. It must
				 * be done explicitly.
				 */
				shell_help(sh);
				return SHELL_CMD_HELP_PRINTED;
			case '?':
				if (state->optopt == 't') {
					shell_print(sh,
							"Option -%c requires game index.",
							state->optopt);
				} else if (isprint(state->optopt) != 0) {
					shell_print(sh,
							"Unknown option `-%c'.",
							state->optopt);
				} else {
					shell_print(sh,
							"Unknown option character `\\x%x'.",
							state->optopt);
				}
				return 1;
			default:
				break;
		}
	}

	shell_print(sh, "game_id = %d, level = %d, time =%d",game_id, level, time);

	return 0;
}


static int cmd_led_on_ts(const struct shell *sh, size_t argc,
		char **argv)
{
	struct getopt_state *state;
	int n = 0;
	int r = 127;
	int g = 127;
	int b = 127;
	int c;

	while ((c = getopt(argc, argv, ":n:r:g:b:")) != -1) {
		state = getopt_state_get();
		switch (c) {
			case 'n':
				n = atoi(state->optarg);;
				break;
			case 'r':
				r = atoi(state->optarg);;
				break;
			case 'g':
				g = atoi(state->optarg);;
				break;
			case 'b':
				b = atoi(state->optarg);;
				break;

			case 'h':
				/* When getopt is active shell is not parsing
				 * command handler to print help message. It must
				 * be done explicitly.
				 */
				shell_help(sh);
				return SHELL_CMD_HELP_PRINTED;
			case '?':
				if (state->optopt == 't') {
					shell_print(sh,
							"Option -%c requires game index.",
							state->optopt);
				} else if (isprint(state->optopt) != 0) {
					shell_print(sh,
							"Unknown option `-%c'.",
							state->optopt);
				} else {
					shell_print(sh,
							"Unknown option character `\\x%x'.",
							state->optopt);
				}
				return 1;
			default:
				break;
		}
	}

	set_rgb (n, r, b, g);
	shell_print(sh, "n = %d, r = %d, g =%d , b = %d",n,r,g,b);

	return 0;
}
#endif

//#include "lua.h"
//#include "lauxlib.h"
//#include "lualib.h"
//extern lua_State *L;
static int cmd_game_lua(const struct shell *sh, size_t argc,
		char **argv)
{
	//lua_State *L = luaL_newstate();
	//luaL_openlibs(L);
	//printf("%s\n", argv[1]);
	//ARG_UNUSED(luaL_dostring(L, argv[1]));
		//ARG_UNUSED(luaL_dostring(L, "g = 123;print (g);"));
	//if (argc >1 && argv[1] && luaL_dostring(L, argv[1])) {
	//	fprintf(stderr, "%s\n", lua_tostring(L,-1));

	//}

	return 0;
}

static int cmd_game_list(const struct shell *sh, size_t argc,
		char **argv)
{	
	game_show_list();
	return 0;
}


static int cmd_game_start(const struct shell *sh, size_t argc,
		char **argv)
{
	int id = argv[1] ? 1 <= atoi(argv[1]) : 0 ;	

	struct game  * g = game_get_by_index(id);
	set_active_game(id);
	game_start(g);
	return 0;
}

static int cmd_game_stop(const struct shell *sh, size_t argc,
		char **argv)
{
	set_active_game(255);
	game_stop();	
	return 0;
}




SHELL_STATIC_SUBCMD_SET_CREATE(sub_game,
		SHELL_CMD(lua, NULL, "",  cmd_game_lua) ,		
		SHELL_CMD(list, NULL,"show the list of games on the device",  cmd_game_list) ,		
		SHELL_CMD(run, NULL,"starts game. Usage <game_id> ",  cmd_game_start) ,		
		SHELL_CMD(stop, NULL,"stop runnuing game.",  cmd_game_stop ),		

#ifdef CONFIG_SHELL_GETOPT
		SHELL_CMD(start, NULL, "starts game. Usage -n<game_id> t<time> -l<level>  ",  cmd_game_start) ,
		SHELL_CMD(stop, NULL, "stops game", /* cmd_game_start)*/0) ,
#endif
		SHELL_SUBCMD_SET_END
		);
		SHELL_CMD_REGISTER(game, &sub_game, "Game commands", NULL);

		SHELL_STATIC_SUBCMD_SET_CREATE(sub_led,
#ifdef CONFIG_SHELL_GETOPT 
				SHELL_CMD(on, NULL, "turn on led. Usage -n<game_id> t<time> -l<level>  ",  cmd_led_on_ts) ,
				SHELL_CMD(off, NULL, "turn off led", /* cmd_game_start)*/0) ,
#endif
				SHELL_CMD(en, NULL, "enable led. Usage <led id(1-8)> ",  cmd_led_en) ,
				SHELL_CMD(run, NULL, "run the led sequenct. Usage <speed(s)> ",  cmd_led_run) ,
				SHELL_CMD(blink, NULL, "start led blinking. Usage <id> <freq> <timeout> ",  cmd_led_blink) ,
				

				SHELL_CMD(stop, NULL, "stop the led sequence ",  cmd_led_stop) ,
				SHELL_CMD(rgb, NULL, "chage station rgb leds. Usage <id> <r> <g> <b> ",  cmd_led_rgb) ,




				SHELL_SUBCMD_SET_END
				);
				SHELL_CMD_REGISTER(led, &sub_led, "Leds commands", NULL);
				SHELL_CMD_ARG_REGISTER(version, NULL, "Show kernel version", cmd_version, 1, 0);


int init_shell(void)
{


#if DT_NODE_HAS_COMPAT(DT_CHOSEN(zephyr_shell_uart), zephyr_cdc_acm_uart)
	const struct device *dev;
	uint32_t dtr = 0;

	dev = DEVICE_DT_GET(DT_CHOSEN(zephyr_shell_uart));
	if (!device_is_ready(dev) || usb_enable(NULL)) {
		return 0;
	}

	while (!dtr) {
		uart_line_ctrl_get(dev, UART_LINE_CTRL_DTR, &dtr);
		k_sleep(K_MSEC(100));
	}
#endif
	return 0;
}
```

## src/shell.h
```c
/*
 * =====================================================================================
 *
 *       Filename:  shell.h
 *
 *    Description:  
 *
 *        Version:  1.0
 *        Created:  08/05/2023 06:27:46 PM
 *       Revision:  none
 *       Compiler:  gcc
 *
 *         Author:  Yair Gadelov (yg), yair.gadelov@gmail.com
 *        Company:  Israel
 *
 * =====================================================================================
 */

#ifndef SHELL_H
#define SHELL_H 
int init_shell(void);

#endif
```

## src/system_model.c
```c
/*
 * =====================================================================================
 *
 *       Filename:  system_model.c
 *
 *    Description:  
 *
 *        Version:  1.0
 *        Created:  08/05/2023 10:01:17 PM
 *       Revision:  none
 *       Compiler:  gcc
 *
 *         Author:  Yair Gadelov (yg), yair.gadelov@gmail.com
 *        Company:  Israel
 *
 * =====================================================================================
 */

#include "system_model.h"

struct system_model model;

void set_active_game(int id) {
	model.active_game = id;
}

void set_rgb(int id, int r, int g, int b) {
	model.stations[id].r = r;
	model.stations[id].g = g;
	model.stations[id].b = b;
}

int get_r(int id) {
	return model.stations[id].r ;
}
int get_g(int id) {
	return model.stations[id].g ;
}
int get_b(int id) {
	return model.stations[id].b ;
}


int get_input(int id) {
	return model.stations[id].button_state;
}

int get_active_game() {
	return model.active_game;
}
#if 0
void set_button_press(int id) {
	model.stations[id].button_state = 1;
	model.stations[id].time_since_press = 0 ; // get system time in ms 
}

#endif

void start_blink(int id, int freq, double blink_time) {
	model.stations[id].blink.freq = freq; 	
	model.stations[id].blink.blink = 1; 	
	model.stations[id].blink.state = 0;
	model.stations[id].blink.max_blink_time = blink_time;

	clock_gettime(CLOCK_REALTIME, &model.stations[id].blink.ts); // get system time 
	clock_gettime(CLOCK_REALTIME, &model.stations[id].blink.bts); // get system time						 
} 

void stop_blink(int id) {
	model.stations[id].blink.blink = 0; 	

}
void toggle_led(int id) {
	// update last toggle time
	clock_gettime(CLOCK_REALTIME, &model.stations[id].blink.bts); 
	model.stations[id].blink.state= model.stations[id].blink.state == 0 ? 1 : 0;	
}


double time_elapse_since_start_blink(int id) {
	struct timespec nts , *rts;
	rts = &model.stations[id].blink.ts;

	int ret = clock_gettime(CLOCK_REALTIME, &nts);
	(void)ret;
	double delta =
		((int64_t)nts.tv_sec * NSEC_PER_SEC -
		 (int64_t)rts->tv_sec * NSEC_PER_SEC) +
		((int64_t)nts.tv_nsec - (int64_t)rts->tv_nsec);
	return delta/NSEC_PER_SEC;
} 

int is_blink(int id) {
	if (time_elapse_since_start_blink(id) > model.stations[id].blink.max_blink_time) { 
		model.stations[id].blink.blink = 0;
		model.stations[id].blink.stop_reson = 2; // time out
	}
	return model.stations[id].blink.blink;
}

void set_timeout_reson(int id, int v)
{
	model.stations[id].blink.stop_reson = v;
}
int time_elapse_since_last_toggle(int id) {
	struct timespec nts , *rts;
	rts = &model.stations[id].blink.bts;

	int ret = clock_gettime(CLOCK_REALTIME, &nts);
	(void)ret;
	double delta =
		((int64_t)nts.tv_sec * NSEC_PER_SEC -
		 (int64_t)rts->tv_sec * NSEC_PER_SEC) +
		((int64_t)nts.tv_nsec - (int64_t)rts->tv_nsec);
	return delta/NSEC_PER_SEC > 1.0 / model.stations[id].blink.freq;
} 


int is_blink_on(int id) {
	return model.stations[id].blink.state;
}


void set_button_release(int id) {
	model.stations[id].button_state = 0;
}


void set_active_node(int id) {
	model.active_node = id;
}
int get_active_node() {
	return model.active_node ;
}


void set_free_run(int v) {
	model.free_run = v;
};
int get_free_run() {
	return model.free_run;
}


void set_free_run_delay(int v) {
	model.free_run_delay_us = v;
}

int get_free_run_delay() {
	return model.free_run_delay_us;
}
```

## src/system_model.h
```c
/*
 * =====================================================================================
 *
 *       Filename:  system_model.h
 *
 *    Description:  
 *
 *        Version:  1.0
 *        Created:  08/05/2023 09:56:22 PM
 *       Revision:  none
 *       Compiler:  gcc
 *
 *         Author:  Yair Gadelov (yg), yair.gadelov@gmail.com
 *        Company:  Israel
 *
 * =====================================================================================
 */
#ifndef SYSTEM_MODEL
#define SYSTEM_MODEL 
#include <zephyr/posix/time.h>
#include <zephyr/posix/sys/time.h>


struct system_model {
	struct  {
		unsigned int r 				: 8;
		unsigned int g 				: 8;
		unsigned int b 				: 8;
		unsigned int active 			: 1;  // 0 - off, 1 -on
		unsigned int button_state 		: 1;  //0 press 
		struct blink_info {
			struct timespec ts;		// time size start blink command
			struct 	timespec bts;		// time sice change of blick state			
			unsigned short state		: 1;  // 1 - the blink on state , 0 - the blonk off state
			unsigned short blink		: 1;	
			unsigned short freq  		: 8;  // blinks per seconds
			unsigned short stop_reson	: 2; // 0 - not deined , 1 time out , 2 button press
			double max_blink_time;  		// the system counteer at the press tim
		} blink;
	} stations[8];
	unsigned short active_node 			: 3;
	unsigned short active_game 			: 8;
	unsigned short free_run 			: 1;
	
	int free_run_delay_us;
	

};

void set_active_game(int id);
void set_rgb(int id, int r, int g, int b);
int get_input(int id);
int get_active_game();
void set_button_press(int id);
void set_button_release(int id);
void set_active_node(int id);
int get_active_node();
int get_r(int id);
int get_g(int id);
int get_b(int id);
void set_free_run(int v);
int get_free_run();

void start_blink(int id, int freq, double blink_time);
double time_ellepse_since_start_blink(int id);
void set_free_run_delay(int v);
int get_free_run_delay();
void stop_blink(int id);
int is_blink(int id);
double time_elapse_since_start_blink(int id);
int time_elapse_since_last_toggle(int id);
void toggle_led(int id);
int is_blink_on(int id);
void set_timeout_reson(int id, int v);

#endif
```
